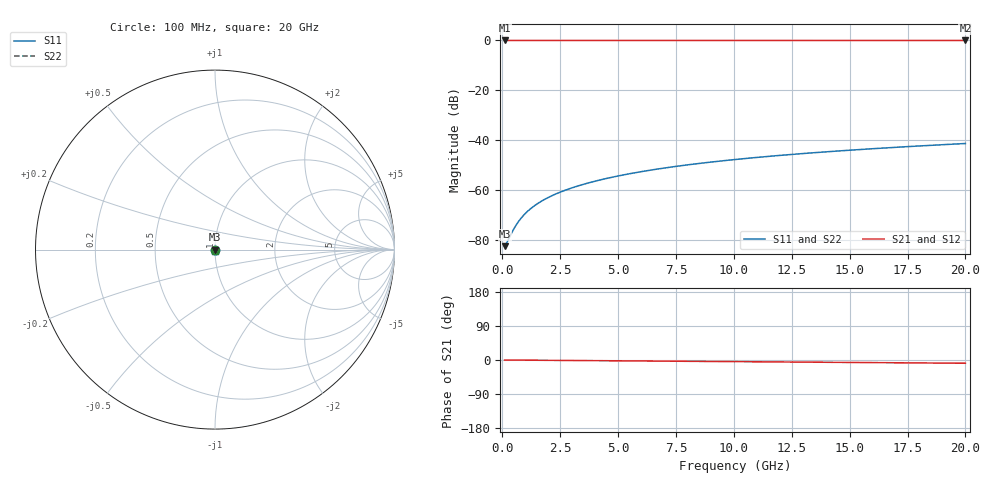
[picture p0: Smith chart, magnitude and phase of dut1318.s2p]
! Touchstone file exported from HFSS 2026.1.0
!  File:  C:/ffzhzh/LocalFiles/Ansys_Project_Files/temp_train_TSV_1318_1783195090_51560.aedt
!  Generated:  03:59:46 AM Jul  5, 2026
!  Design:  TSV
!  Project:  temp_train_TSV_1318_1783195090_51560
! Variables:
!  h_bsmrdl = 2um
!  h_ox = 20um
!  h_rdl = 5um
!  h_sub = 84.84um
!  h_tmrdl = 5um
!  h_tsv = 84.84um
!  h_via = 3um
!  l_bsmrdl = 300um
!  l_sub = 429.3um
!  l_tmrdl = 200um
!  m_sub = 200um
!  pitch = 55.05um
!  r_tsv = 14.65um
!  s_tmrdl = 10um
!  w_bsmrdl = 18um
!  w_sub = 500um
!  w_tmrdl = 12um
!  x_tsv_center1 = 206um
!  x_tsv_center2 = 524um
!  x_tsv_center3 = 736um
!  x_tsv_center4 = 1054um
!  x_tsv_center5 = 1266um
!  x_tsv_center6 = 1584um
# GHz S MA R 50.000000
! Terminal data exported
! Port[1] = TSV1_1_T1
! Port[2] = TSV1_1_T2
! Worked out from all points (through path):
!   200 points, 100 MHz to 20 GHz, reference 50 ohm
!   highest |S21| = 0.00 dB at 100 MHz (marker M1); lowest = 0.0 dB at 20 GHz (marker M2)
!   group delay of S21, straight-line fit = 1.19 ps
!   lowest |S11| = -82.3 dB at 100 MHz (marker M3), VSWR 1.00, Z = 50 - j1.58e-06 ohm
!   |S11| at or under -10 dB: start of sweep to end of sweep
!   |S22| runs from -82.3 to -41.2 dB; largest |S21 - S12| = 3.1e-15
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0.1  7.641e-05 -0.0  0.9999 -0.0  0.9999 -0.0  7.641e-05 -0.0
! Gamma 0 0 0 0
! Port Impedance 50 0 50 0
0.2  9.094e-05 -2.6  0.9999 -0.1  0.9999 -0.1  9.093e-05 -2.6
0.3  0.0001126 -7.6  0.9999 -0.1  0.9999 -0.1  0.0001126 -7.6
0.5  0.0001699 -20.1  0.9998 -0.2  0.9998 -0.2  0.0001699 -20.1
0.6  0.0002028 -26.0  0.9998 -0.3  0.9998 -0.3  0.0002028 -26.0
0.7  0.0002374 -31.3  0.9998 -0.3  0.9998 -0.3  0.0002374 -31.3
0.9  0.0003095 -40.1  0.9998 -0.4  0.9998 -0.4  0.0003095 -40.1
1.1  0.0003838 -46.8  0.9997 -0.5  0.9997 -0.5  0.0003838 -46.8
1.4  0.0004968 -54.1  0.9997 -0.6  0.9997 -0.6  0.0004968 -54.1
1.8  0.0006494 -60.6  0.9997 -0.8  0.9997 -0.8  0.0006494 -60.6
2.3  0.0008427 -65.8  0.9996 -1.0  0.9996 -1.0  0.0008427 -65.8
2.9  0.001079 -69.8  0.9996 -1.3  0.9996 -1.3  0.001079 -69.8
3.5  0.00132 -72.5  0.9996 -1.5  0.9996 -1.5  0.00132 -72.5
4.2  0.001606 -74.8  0.9995 -1.8  0.9995 -1.8  0.001606 -74.8
5  0.001941 -76.8  0.9995 -2.2  0.9995 -2.2  0.001941 -76.8
5.9  0.002324 -78.6  0.9994 -2.5  0.9994 -2.5  0.002324 -78.6
6.8  0.002713 -80.1  0.9994 -2.9  0.9994 -2.9  0.002713 -80.1
8.3  0.00337 -82.2  0.9993 -3.6  0.9993 -3.6  0.00337 -82.1
10.1  0.004166 -84.2  0.9993 -4.3  0.9993 -4.3  0.004166 -84.2
13.4  0.005642 -87.2  0.9991 -5.8  0.9991 -5.8  0.005642 -87.2
16.7  0.007138 -89.6  0.999 -7.2  0.999 -7.2  0.007138 -89.6
20  0.00866 -91.7  0.9989 -8.6  0.9989 -8.6  0.008661 -91.7
